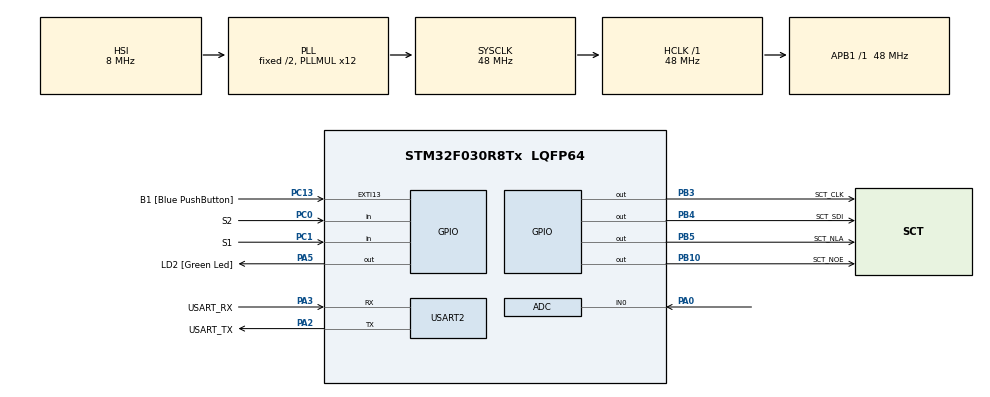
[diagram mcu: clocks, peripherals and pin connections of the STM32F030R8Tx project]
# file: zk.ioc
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ADC.ContinuousConvMode=ENABLE
ADC.Overrun=ADC_OVR_DATA_OVERWRITTEN
ADC.SamplingTime=ADC_SAMPLETIME_239CYCLES_5
Mcu.Family=STM32F0
Mcu.Name=STM32F030R8Tx
Mcu.Package=LQFP64
NVIC.ADC1_IRQn=true\:0\:0\:false\:false\:true\:true\:true
PA0.Mode=IN0
PA0.Signal=ADC_IN0
PA13.GPIO_Label=TMS
PA13.Mode=Serial_Wire
PA13.Signal=SYS_SWDIO
PA14.GPIO_Label=TCK
PA14.Mode=Serial_Wire
PA14.Signal=SYS_SWCLK
PA2.GPIO_Label=USART_TX
PA2.GPIO_Mode=GPIO_MODE_AF_PP
PA2.GPIO_PuPd=GPIO_NOPULL
PA2.GPIO_Speed=GPIO_SPEED_FREQ_LOW
PA2.Mode=Asynchronous
PA2.Signal=USART2_TX
PA3.GPIO_Label=USART_RX
PA3.GPIO_Mode=GPIO_MODE_AF_PP
PA3.GPIO_PuPd=GPIO_NOPULL
PA3.GPIO_Speed=GPIO_SPEED_FREQ_LOW
PA3.Mode=Asynchronous
PA3.Signal=USART2_RX
PA5.GPIO_Label=LD2 [Green Led]
PA5.GPIO_Mode=GPIO_MODE_OUTPUT_PP
PA5.GPIO_PuPd=GPIO_NOPULL
PA5.GPIO_Speed=GPIO_SPEED_FREQ_LOW
PA5.Signal=GPIO_Output
PB10.GPIO_Label=SCT_NOE
PB10.Signal=GPIO_Output
PB3.GPIO_Label=SCT_CLK
PB3.Signal=GPIO_Output
PB4.GPIO_Label=SCT_SDI
PB4.Signal=GPIO_Output
PB5.GPIO_Label=SCT_NLA
PB5.Signal=GPIO_Output
PC0.GPIO_Label=S2
PC0.Signal=GPIO_Input
PC1.GPIO_Label=S1
PC1.Signal=GPIO_Input
PC13.GPIO_Label=B1 [Blue PushButton]
PC13.GPIO_ModeDefaultEXTI=GPIO_MODE_IT_FALLING
PC13.Signal=GPXTI13
PC14-OSC32_IN.Mode=LSE-External-Oscillator
PC14-OSC32_IN.Signal=RCC_OSC32_IN
PC15-OSC32_OUT.Mode=LSE-External-Oscillator
PC15-OSC32_OUT.Signal=RCC_OSC32_OUT
PF0-OSC_IN.Mode=HSE-External-Clock-Source
PF0-OSC_IN.Signal=RCC_OSC_IN
PF1-OSC_OUT.Signal=RCC_OSC_OUT
ProjectManager.HeapSize=0x200
ProjectManager.StackSize=0x400
ProjectManager.TargetToolchain=STM32CubeIDE
RCC.AHBFreq_Value=48000000
RCC.APB1Freq_Value=48000000
RCC.APB1TimFreq_Value=48000000
RCC.HCLKFreq_Value=48000000
RCC.PLLMUL=RCC_PLL_MUL12
RCC.SYSCLKFreq_VALUE=48000000
RCC.SYSCLKSource=RCC_SYSCLKSOURCE_PLLCLK
USART2.VirtualMode-Asynchronous=VM_ASYNC
board=NUCLEO-F030R8

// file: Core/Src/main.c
/* USER CODE BEGIN Header */
/**
  ******************************************************************************
  * @file           : main.c
  * @brief          : Main program body
  ******************************************************************************
  * @attention
  *
  * <h2><center>&copy; Copyright (c) 2021 STMicroelectronics.
  * All rights reserved.</center></h2>
  *
  * This software component is licensed by ST under BSD 3-Clause license,
  * the "License"; You may not use this file except in compliance with the
  * License. You may obtain a copy of the License at:
  *                        opensource.org/licenses/BSD-3-Clause
  *
  ******************************************************************************
  */
/* USER CODE END Header */
#include "main.h"

/* USER CODE BEGIN Includes */
#include "sct.h"
/* USER CODE END Includes */

/* USER CODE BEGIN PD */
#define SPEED_MIN 20
#define SPEED_MAX 300
/* USER CODE END PD */

ADC_HandleTypeDef hadc;

UART_HandleTypeDef huart2;

/* USER CODE BEGIN PV */
static volatile uint32_t raw_pot;
/* USER CODE END PV */

void SystemClock_Config(void);
static void MX_GPIO_Init(void);
static void MX_USART2_UART_Init(void);
static void MX_ADC_Init(void);

/* USER CODE BEGIN 0 */

void HAL_ADC_ConvCpltCallback(ADC_HandleTypeDef* hadc){
    raw_pot = HAL_ADC_GetValue(hadc);
}

/* USER CODE END 0 */

int main(void)
{

  /* MCU Configuration--------------------------------------------------------*/

  /* Reset of all peripherals, Initializes the Flash interface and the Systick. */
  HAL_Init();

  /* Configure the system clock */
  SystemClock_Config();

  /* Initialize all configured peripherals */
  MX_GPIO_Init();
  MX_USART2_UART_Init();
  MX_ADC_Init();
  /* USER CODE BEGIN 2 */
  sct_init();

  HAL_ADCEx_Calibration_Start(&hadc);
  HAL_ADC_Start_IT(&hadc);
  /* USER CODE END 2 */

  /* Infinite loop */
  while (1)
  {

    /* USER CODE BEGIN 3 */
	  static enum {DIR_RIGHT, DIR_LEFT} state = DIR_RIGHT; // default = DIR_RIGHT
	  static uint8_t rem_i = 0;

	  	  if (state == DIR_RIGHT){
	  	      for (uint8_t i = rem_i; i < 10; i++){
	  	    	 sct_value(i);
	  	    	 HAL_Delay(20 + (raw_pot * (SPEED_MAX-SPEED_MIN) / 4096)); // 20-300 ms
	  	    	 rem_i = i;
	  		   }
	  	  }
	  	  else if (state == DIR_LEFT){
	  	      for (uint8_t i = rem_i; i < 10; i++){
	  			 sct_value(9-i);
	  			 HAL_Delay(20 + (raw_pot * (SPEED_MAX-SPEED_MIN) / 4096)); // 20-300 ms
	  			 rem_i = i;
	  		  }
	  	  }

	  	  if (HAL_GPIO_ReadPin(S2_GPIO_Port, S2_Pin) == 0){ // S2
	  		  state = DIR_LEFT;
	  	  }
	  	  else if (HAL_GPIO_ReadPin(S1_GPIO_Port, S1_Pin) == 0){ // S1
	  		  state = DIR_RIGHT;
	  	  }
  }
  /* USER CODE END 3 */
}

void SystemClock_Config(void)
{
  RCC_OscInitTypeDef RCC_OscInitStruct = {0};
  RCC_ClkInitTypeDef RCC_ClkInitStruct = {0};

  /** Initializes the RCC Oscillators according to the specified parameters
  * in the RCC_OscInitTypeDef structure.
  */
  RCC_OscInitStruct.OscillatorType = RCC_OSCILLATORTYPE_HSI|RCC_OSCILLATORTYPE_HSI14;
  RCC_OscInitStruct.HSIState = RCC_HSI_ON;
  RCC_OscInitStruct.HSI14State = RCC_HSI14_ON;
  RCC_OscInitStruct.HSICalibrationValue = RCC_HSICALIBRATION_DEFAULT;
  RCC_OscInitStruct.HSI14CalibrationValue = 16;
  RCC_OscInitStruct.PLL.PLLState = RCC_PLL_ON;
  RCC_OscInitStruct.PLL.PLLSource = RCC_PLLSOURCE_HSI;
  RCC_OscInitStruct.PLL.PLLMUL = RCC_PLL_MUL12;
  RCC_OscInitStruct.PLL.PREDIV = RCC_PREDIV_DIV1;
  if (HAL_RCC_OscConfig(&RCC_OscInitStruct) != HAL_OK)
  {
    Error_Handler();
  }
  /** Initializes the CPU, AHB and APB buses clocks
  */
  RCC_ClkInitStruct.ClockType = RCC_CLOCKTYPE_HCLK|RCC_CLOCKTYPE_SYSCLK
                              |RCC_CLOCKTYPE_PCLK1;
  RCC_ClkInitStruct.SYSCLKSource = RCC_SYSCLKSOURCE_PLLCLK;
  RCC_ClkInitStruct.AHBCLKDivider = RCC_SYSCLK_DIV1;
  RCC_ClkInitStruct.APB1CLKDivider = RCC_HCLK_DIV1;

  if (HAL_RCC_ClockConfig(&RCC_ClkInitStruct, FLASH_LATENCY_1) != HAL_OK)
  {
    Error_Handler();
  }
}

static void MX_ADC_Init(void)
{

  ADC_ChannelConfTypeDef sConfig = {0};

  /** Configure the global features of the ADC (Clock, Resolution, Data Alignment and number of conversion)
  */
  hadc.Instance = ADC1;
  hadc.Init.ClockPrescaler = ADC_CLOCK_ASYNC_DIV1;
  hadc.Init.Resolution = ADC_RESOLUTION_12B;
  hadc.Init.DataAlign = ADC_DATAALIGN_RIGHT;
  hadc.Init.ScanConvMode = ADC_SCAN_DIRECTION_FORWARD;
  hadc.Init.EOCSelection = ADC_EOC_SINGLE_CONV;
  hadc.Init.LowPowerAutoWait = DISABLE;
  hadc.Init.LowPowerAutoPowerOff = DISABLE;
  hadc.Init.ContinuousConvMode = ENABLE;
  hadc.Init.DiscontinuousConvMode = DISABLE;
  hadc.Init.ExternalTrigConv = ADC_SOFTWARE_START;
  hadc.Init.ExternalTrigConvEdge = ADC_EXTERNALTRIGCONVEDGE_NONE;
  hadc.Init.DMAContinuousRequests = DISABLE;
  hadc.Init.Overrun = ADC_OVR_DATA_OVERWRITTEN;
  if (HAL_ADC_Init(&hadc) != HAL_OK)
  {
    Error_Handler();
  }
  /** Configure for the selected ADC regular channel to be converted.
  */
  sConfig.Channel = ADC_CHANNEL_0;
  sConfig.Rank = ADC_RANK_CHANNEL_NUMBER;
  sConfig.SamplingTime = ADC_SAMPLETIME_239CYCLES_5;
  if (HAL_ADC_ConfigChannel(&hadc, &sConfig) != HAL_OK)
  {
    Error_Handler();
  }

}

static void MX_USART2_UART_Init(void)
{

  huart2.Instance = USART2;
  huart2.Init.BaudRate = 38400;
  huart2.Init.WordLength = UART_WORDLENGTH_8B;
  huart2.Init.StopBits = UART_STOPBITS_1;
  huart2.Init.Parity = UART_PARITY_NONE;
  huart2.Init.Mode = UART_MODE_TX_RX;
  huart2.Init.HwFlowCtl = UART_HWCONTROL_NONE;
  huart2.Init.OverSampling = UART_OVERSAMPLING_16;
  huart2.Init.OneBitSampling = UART_ONE_BIT_SAMPLE_DISABLE;
  huart2.AdvancedInit.AdvFeatureInit = UART_ADVFEATURE_NO_INIT;
  if (HAL_UART_Init(&huart2) != HAL_OK)
  {
    Error_Handler();
  }

}

static void MX_GPIO_Init(void)
{
  GPIO_InitTypeDef GPIO_InitStruct = {0};

  /* GPIO Ports Clock Enable */
  __HAL_RCC_GPIOC_CLK_ENABLE();
  __HAL_RCC_GPIOF_CLK_ENABLE();
  __HAL_RCC_GPIOA_CLK_ENABLE();
  __HAL_RCC_GPIOB_CLK_ENABLE();

  /*Configure GPIO pin Output Level */
  HAL_GPIO_WritePin(LD2_GPIO_Port, LD2_Pin, GPIO_PIN_RESET);

  /*Configure GPIO pin Output Level */
  HAL_GPIO_WritePin(GPIOB, SCT_NOE_Pin|SCT_CLK_Pin|SCT_SDI_Pin|SCT_NLA_Pin, GPIO_PIN_RESET);

  /*Configure GPIO pin : B1_Pin */
  GPIO_InitStruct.Pin = B1_Pin;
  GPIO_InitStruct.Mode = GPIO_MODE_IT_FALLING;
  GPIO_InitStruct.Pull = GPIO_NOPULL;
  HAL_GPIO_Init(B1_GPIO_Port, &GPIO_InitStruct);

  /*Configure GPIO pins : S2_Pin S1_Pin */
  GPIO_InitStruct.Pin = S2_Pin|S1_Pin;
  GPIO_InitStruct.Mode = GPIO_MODE_INPUT;
  GPIO_InitStruct.Pull = GPIO_NOPULL;
  HAL_GPIO_Init(GPIOC, &GPIO_InitStruct);

  /*Configure GPIO pin : LD2_Pin */
  GPIO_InitStruct.Pin = LD2_Pin;
  GPIO_InitStruct.Mode = GPIO_MODE_OUTPUT_PP;
  GPIO_InitStruct.Pull = GPIO_NOPULL;
  GPIO_InitStruct.Speed = GPIO_SPEED_FREQ_LOW;
  HAL_GPIO_Init(LD2_GPIO_Port, &GPIO_InitStruct);

  /*Configure GPIO pins : SCT_NOE_Pin SCT_CLK_Pin SCT_SDI_Pin SCT_NLA_Pin */
  GPIO_InitStruct.Pin = SCT_NOE_Pin|SCT_CLK_Pin|SCT_SDI_Pin|SCT_NLA_Pin;
  GPIO_InitStruct.Mode = GPIO_MODE_OUTPUT_PP;
  GPIO_InitStruct.Pull = GPIO_NOPULL;
  GPIO_InitStruct.Speed = GPIO_SPEED_FREQ_LOW;
  HAL_GPIO_Init(GPIOB, &GPIO_InitStruct);

}

void Error_Handler(void)
{
}

/************************ (C) COPYRIGHT STMicroelectronics *****END OF FILE****/
